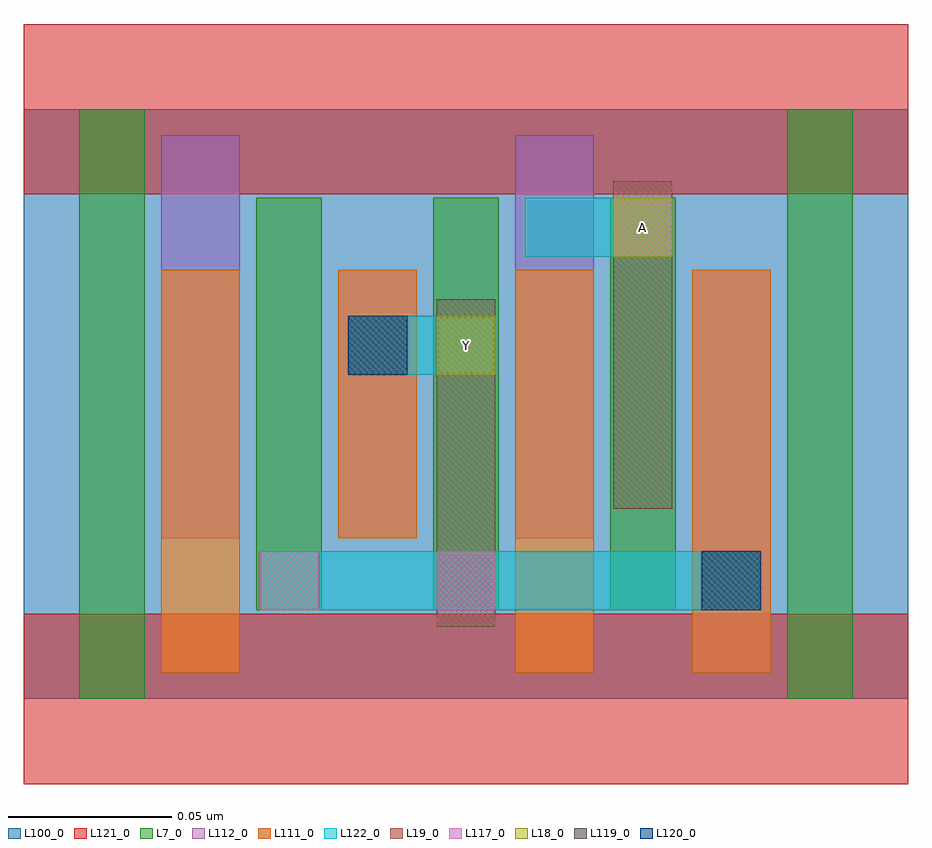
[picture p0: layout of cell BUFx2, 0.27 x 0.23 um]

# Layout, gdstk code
import gdstk
lib = gdstk.Library(unit=1e-6, precision=2.5e-10)
def R(c, l, rs):  # rectangles x0, y0, x1, y1
    for r in rs: c.add(gdstk.rectangle(r[:2], r[2:], *l))
def A(c, l, x, y, w, h, nx, ny, dx, dy):  # array of equal rectangles
    R(c, l, [(x+i*dx, y+j*dy, x+i*dx+w, y+j*dy+h) for i in range(nx) for j in range(ny)])
L7_0 = (7, 0)
L18_0 = (18, 0)
L19_0 = (19, 0)
L100_0 = (100, 0)
L111_0 = (111, 0)
L112_0 = (112, 0)
L117_0 = (117, 0)
L119_0 = (119, 0)
L120_0 = (120, 0)
L121_0 = (121, 0)
L122_0 = (122, 0)

bufx2 = lib.new_cell('BUFx2')
A(bufx2, L7_0, 0.071, 0.027, 0.02, 0.126, 3, 1, 0.054, 0)
R(bufx2, L7_0, [(0.017,0,0.037,0.18), (0.233,0,0.253,0.18)])
R(bufx2, L18_0, [(0.126,0.099,0.144,0.117), (0.18,0.135,0.198,0.153)])
R(bufx2, L19_0, [(0.126,0.022,0.144,0.122), (0.18,0.058,0.198,0.158)])
R(bufx2, L100_0, [(0,0,0.27,0.18)])
R(bufx2, L111_0, [(0.042,0.008,0.066,0.131), (0.15,0.008,0.174,0.131), (0.204,0.008,0.228,0.131), (0.096,0.049,0.12,0.131)])
R(bufx2, L112_0, [(0.204,0.008,0.228,0.131), (0.042,0.049,0.066,0.172), (0.096,0.049,0.12,0.131), (0.15,0.049,0.174,0.172)])
R(bufx2, L117_0, [(0.072,0.027,0.09,0.045), (0.126,0.027,0.144,0.045), (0.18,0.135,0.198,0.153)])
R(bufx2, L119_0, [(0.207,0.027,0.225,0.045), (0.099,0.099,0.117,0.117)])
R(bufx2, L120_0, [(0.207,0.027,0.225,0.045), (0.099,0.099,0.117,0.117)])
R(bufx2, L121_0, [(0,-0.026,0.27,0.026), (0,0.154,0.27,0.206)])
R(bufx2, L122_0, [(0.072,0.027,0.225,0.045), (0.099,0.099,0.144,0.117), (0.153,0.135,0.198,0.153)])
bufx2.add(gdstk.Label('Y', (0.135,0.108), layer=19, texttype=251))
bufx2.add(gdstk.Label('A', (0.189,0.144), layer=19, texttype=251))

lib.write_gds('BUFx2.gds')
